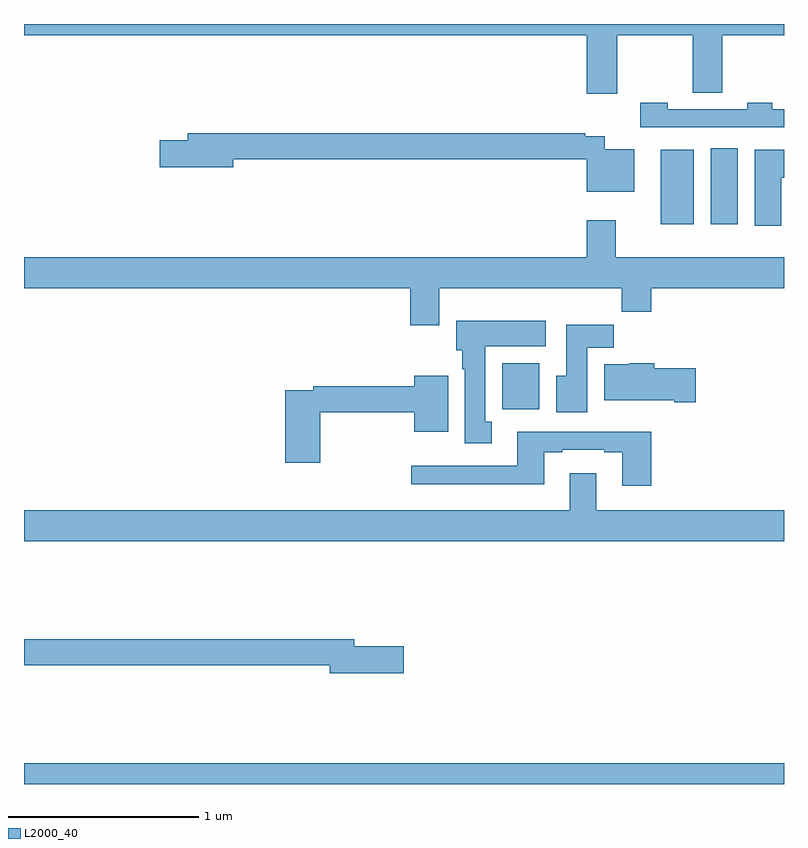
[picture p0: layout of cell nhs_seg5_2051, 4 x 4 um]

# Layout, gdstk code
import gdstk
lib = gdstk.Library(unit=1e-6, precision=1e-09)
def R(c, l, rs):  # rectangles x0, y0, x1, y1
    for r in rs: c.add(gdstk.rectangle(r[:2], r[2:], *l))
def P(c, l, *ps):  # polygons
    for p in ps: c.add(gdstk.Polygon(p, *l))
L2000_40 = (2000, 40)

nhs_seg5_2051 = lib.new_cell('nhs_seg5_2051')
R(nhs_seg5_2051, L2000_40, [(231,872.799,235,872.908), (233.516,874.772,233.713,875.014), (234.35,875.744,234.526,876.136), (234.614,875.744,234.757,876.145)])
P(nhs_seg5_2051, L2000_40, [(234.123,876.74),(234.52,876.74),(234.52,876.436),(234.674,876.436),(234.674,876.74),(235,876.74),(235,876.799),(231,876.799),(231,876.74),(233.963,876.74),(233.963,876.432),(234.123,876.432)],
  [(235,876.351),(234.939,876.351),(234.939,876.384),(234.807,876.384),(234.807,876.351),(234.387,876.351),(234.387,876.384),(234.243,876.384),(234.243,876.255),(235,876.255)],
  [(234.211,876.139),(234.057,876.139),(234.057,876.207),(233.954,876.207),(233.954,876.224),(231.863,876.224),(231.863,876.188),(231.714,876.188),(231.714,876.046),(232.102,876.046),(232.102,876.088),(233.961,876.088),(233.961,875.915),(234.211,875.915)],
  [(234.985,875.989),(235,875.989),(235,876.136),(234.845,876.136),(234.845,875.736),(234.985,875.736)],
  [(233.185,875.408),(234.145,875.408),(234.145,875.284),(234.302,875.284),(234.302,875.408),(235,875.408),(235,875.572),(234.115,875.572),(234.115,875.767),(233.963,875.767),(233.963,875.572),(231,875.572),(231,875.408),(233.033,875.408),(233.033,875.214),(233.185,875.214)],
  [(233.461,874.706),(233.428,874.706),(233.428,875.102),(233.746,875.102),(233.746,875.236),(233.276,875.236),(233.276,875.082),(233.306,875.082),(233.306,874.982),(233.321,874.982),(233.321,874.593),(233.461,874.593)],
  [(233.965,875.096),(234.104,875.096),(234.104,875.215),(233.855,875.215),(233.855,874.948),(233.801,874.948),(233.801,874.755),(233.965,874.755)],
  [(234.535,874.986),(234.317,874.986),(234.317,875.014),(234.186,875.014),(234.186,875.008),(234.053,875.008),(234.053,874.82),(234.422,874.82),(234.422,874.808),(234.535,874.808)],
  [(232.559,874.756),(233.054,874.756),(233.054,874.652),(233.233,874.652),(233.233,874.948),(233.054,874.948),(233.054,874.892),(232.522,874.892),(232.522,874.872),(232.376,874.872),(232.376,874.491),(232.559,874.491)],
  [(234.302,874.654),(234.057,874.654),(234.057,874.653),(233.597,874.653),(233.597,874.473),(233.037,874.473),(233.037,874.376),(233.737,874.376),(233.737,874.545),(233.833,874.545),(233.833,874.557),(234.053,874.557),(234.053,874.545),(234.149,874.545),(234.149,874.368),(234.302,874.368)],
  [(235,874.24),(234.013,874.24),(234.013,874.435),(233.873,874.435),(233.873,874.24),(231,874.24),(231,874.076),(235,874.076)],
  [(232.999,873.524),(232.738,873.524),(232.738,873.56),(231,873.56),(231,873.424),(232.61,873.424),(232.61,873.382),(232.999,873.382)])

lib.write_gds('nhs_seg5_2051.gds')
